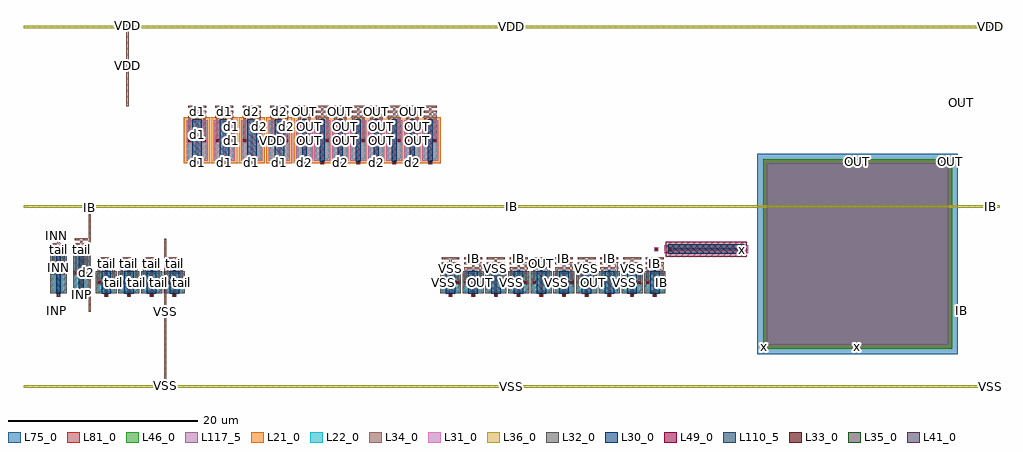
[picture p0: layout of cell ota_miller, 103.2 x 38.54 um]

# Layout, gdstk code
import gdstk
lib = gdstk.Library(unit=1e-6, precision=1e-09)
def R(c, l, rs):  # rectangles x0, y0, x1, y1
    for r in rs: c.add(gdstk.rectangle(r[:2], r[2:], *l))
def A(c, l, x, y, w, h, nx, ny, dx, dy):  # array of equal rectangles
    R(c, l, [(x+i*dx, y+j*dy, x+i*dx+w, y+j*dy+h) for i in range(nx) for j in range(ny)])
L21_0 = (21, 0)
L22_0 = (22, 0)
L30_0 = (30, 0)
L31_0 = (31, 0)
L32_0 = (32, 0)
L33_0 = (33, 0)
L34_0 = (34, 0)
L35_0 = (35, 0)
L36_0 = (36, 0)
L41_0 = (41, 0)
L46_0 = (46, 0)
L49_0 = (49, 0)
L75_0 = (75, 0)
L81_0 = (81, 0)
L110_5 = (110, 5)
L117_5 = (117, 5)

ota_miller = lib.new_cell('ota_miller')
A(ota_miller, L21_0, 13.97, 19.57, 2.76, 4.86, 4, 1, 2.9, 0)
A(ota_miller, L21_0, 25.57, 19.57, 2.26, 4.86, 8, 1, 1.9, 0)
A(ota_miller, L22_0, 4.8, 6, 1.9, 2, 4, 1, 2.4, 0)
A(ota_miller, L22_0, 41.2, 6, 1.9, 2, 10, 1, 2.4, 0)
A(ota_miller, L22_0, 14.4, 20, 1.9, 4, 4, 1, 2.9, 0)
A(ota_miller, L22_0, 26, 20, 1.4, 4, 8, 1, 1.9, 0)
R(ota_miller, L22_0, [(0,6,1.4,10), (2.4,6,3.8,10), (63.7,10.28,64.14,10.72)])
A(ota_miller, L30_0, 5.25, 5.78, 1, 2.44, 4, 1, 2.4, 0)
A(ota_miller, L30_0, 41.65, 5.78, 1, 2.44, 10, 1, 2.4, 0)
A(ota_miller, L30_0, 14.85, 19.78, 1, 4.44, 4, 1, 2.9, 0)
A(ota_miller, L30_0, 26.45, 19.78, 0.5, 4.44, 8, 1, 1.9, 0)
R(ota_miller, L30_0, [(0.45,5.78,0.95,10.22), (2.85,5.78,3.35,10.22), (65.2,10,73.2,11)])
A(ota_miller, L31_0, 14.24, 19.84, 2.22, 4.32, 4, 1, 2.9, 0)
A(ota_miller, L31_0, 25.84, 19.84, 1.72, 4.32, 8, 1, 1.9, 0)
R(ota_miller, L31_0, [(64.76,10.1,65.2,10.9), (73.2,10.1,73.64,10.9), (63.7,10.28,64.14,10.72)])
A(ota_miller, L32_0, 4.64, 5.84, 2.22, 2.32, 4, 1, 2.4, 0)
A(ota_miller, L32_0, 41.04, 5.84, 2.22, 2.32, 10, 1, 2.4, 0)
R(ota_miller, L32_0, [(-0.16,5.84,1.56,10.16), (2.24,5.84,3.96,10.16)])
A(ota_miller, L33_0, 5.64, 5.55, 0.22, 0.22, 4, 1, 2.4, 0)
A(ota_miller, L33_0, 42.04, 5.55, 0.22, 0.22, 10, 1, 2.4, 0)
A(ota_miller, L33_0, 15.24, 19.55, 0.22, 0.22, 4, 1, 2.9, 0)
A(ota_miller, L33_0, 26.59, 19.55, 0.22, 0.22, 8, 1, 1.9, 0)
R(ota_miller, L33_0, [(0.59,5.55,0.81,5.77), (2.99,5.55,3.21,5.77), (4.88,6.89,5.1,7.11), (6.4,6.89,6.62,7.11), (7.28,6.89,7.5,7.11), (8.8,6.89,9.02,7.11), (9.68,6.89,9.9,7.11), (11.2,6.89,11.42,7.11), (12.08,6.89,12.3,7.11), (13.6,6.89,13.82,7.11), (41.28,6.89,41.5,7.11), (42.8,6.89,43.02,7.11), (43.68,6.89,43.9,7.11), (45.2,6.89,45.42,7.11), (46.08,6.89,46.3,7.11), (47.6,6.89,47.82,7.11), (48.48,6.89,48.7,7.11), (50,6.89,50.22,7.11), (50.88,6.89,51.1,7.11), (52.4,6.89,52.62,7.11), (53.28,6.89,53.5,7.11), (54.8,6.89,55.02,7.11), (55.68,6.89,55.9,7.11), (57.2,6.89,57.42,7.11), (58.08,6.89,58.3,7.11), (59.6,6.89,59.82,7.11), (60.48,6.89,60.7,7.11), (62,6.89,62.22,7.11), (62.88,6.89,63.1,7.11), (64.4,6.89,64.62,7.11), (0.08,7.89,0.3,8.11), (1.1,7.89,1.32,8.11), (2.48,7.89,2.7,8.11), (3.5,7.89,3.72,8.11), (63.81,10.39,64.03,10.61), (65.27,10.39,65.49,10.61), (72.91,10.39,73.13,10.61), (14.48,21.89,14.7,22.11), (16,21.89,16.22,22.11), (17.38,21.89,17.6,22.11), (18.9,21.89,19.12,22.11), (20.28,21.89,20.5,22.11), (21.8,21.89,22.02,22.11), (23.18,21.89,23.4,22.11), (24.7,21.89,24.92,22.11), (26.08,21.89,26.3,22.11), (27.1,21.89,27.32,22.11), (27.98,21.89,28.2,22.11), (29,21.89,29.22,22.11), (29.88,21.89,30.1,22.11), (30.9,21.89,31.12,22.11), (31.78,21.89,32,22.11), (32.8,21.89,33.02,22.11), (33.68,21.89,33.9,22.11), (34.7,21.89,34.92,22.11), (35.58,21.89,35.8,22.11), (36.6,21.89,36.82,22.11), (37.48,21.89,37.7,22.11), (38.5,21.89,38.72,22.11), (39.38,21.89,39.6,22.11), (40.4,21.89,40.62,22.11)])
A(ota_miller, L34_0, 99, -4.2, 0.4, 0.4, 1, 3, 0, 19)
A(ota_miller, L34_0, 5.55, 5.46, 0.4, 0.4, 4, 1, 2.4, 0)
A(ota_miller, L34_0, 41.95, 5.46, 0.4, 0.4, 10, 1, 2.4, 0)
A(ota_miller, L34_0, 5.635, 5.66, 0.23, 3.895, 4, 1, 2.4, 0)
A(ota_miller, L34_0, 42.035, 5.66, 0.23, 3.895, 10, 1, 2.4, 0)
A(ota_miller, L34_0, 4.875, 7, 0.23, 1.495, 4, 1, 2.4, 0)
A(ota_miller, L34_0, 6.395, 7, 0.23, 2.025, 4, 1, 2.4, 0)
A(ota_miller, L34_0, 41.275, 7, 0.23, 1.495, 10, 1, 2.4, 0)
A(ota_miller, L34_0, 42.795, 7, 0.23, 2.025, 10, 1, 2.4, 0)
A(ota_miller, L34_0, 4.8, 8.38, 1.9, 0.23, 4, 3, 2.4, 0.53)
A(ota_miller, L34_0, 41.2, 8.38, 1.9, 0.23, 10, 3, 2.4, 0.53)
A(ota_miller, L34_0, 0, 10.38, 1.4, 0.23, 1, 3, 0, 0.53)
A(ota_miller, L34_0, 2.4, 10.38, 1.4, 0.23, 1, 3, 0, 0.53)
A(ota_miller, L34_0, 15.15, 19.46, 0.4, 0.4, 4, 1, 2.9, 0)
A(ota_miller, L34_0, 26.5, 19.46, 0.4, 0.4, 8, 1, 1.9, 0)
A(ota_miller, L34_0, 15.235, 19.66, 0.23, 5.895, 4, 1, 2.9, 0)
A(ota_miller, L34_0, 26.585, 19.66, 0.23, 5.895, 8, 1, 1.9, 0)
A(ota_miller, L34_0, 14.475, 22, 0.23, 2.495, 5, 1, 2.9, 0)
A(ota_miller, L34_0, 15.995, 22, 0.23, 3.025, 4, 1, 2.9, 0)
A(ota_miller, L34_0, 27.095, 22, 0.23, 3.025, 8, 1, 1.9, 0)
A(ota_miller, L34_0, 27.975, 22, 0.23, 2.495, 7, 1, 1.9, 0)
A(ota_miller, L34_0, 14.4, 24.38, 1.9, 0.23, 4, 3, 2.9, 0.53)
A(ota_miller, L34_0, 26, 24.38, 1.4, 0.23, 8, 3, 1.9, 0.53)
R(ota_miller, L34_0, [(99.085,-4.115,99.315,-3.885), (11.8,-4.06,12.2,-3.66), (11.885,-3.86,12.115,11.62), (3.885,3.88,4.115,14.86), (0.385,3.885,0.615,4.115), (96.085,3.885,96.315,4.115), (0.5,5.46,0.9,5.86), (2.9,5.46,3.3,5.86), (0.585,5.66,0.815,11.555), (2.985,5.66,3.215,11.555), (4.79,6.8,5.19,7.2), (6.31,6.8,6.71,7.2), (7.19,6.8,7.59,7.2), (8.71,6.8,9.11,7.2), (9.59,6.8,9.99,7.2), (11.11,6.8,11.51,7.2), (11.99,6.8,12.39,7.2), (13.51,6.8,13.91,7.2), (41.19,6.8,41.59,7.2), (42.71,6.8,43.11,7.2), (43.59,6.8,43.99,7.2), (45.11,6.8,45.51,7.2), (45.99,6.8,46.39,7.2), (47.51,6.8,47.91,7.2), (48.39,6.8,48.79,7.2), (49.91,6.8,50.31,7.2), (50.79,6.8,51.19,7.2), (52.31,6.8,52.71,7.2), (53.19,6.8,53.59,7.2), (54.71,6.8,55.11,7.2), (55.59,6.8,55.99,7.2), (57.11,6.8,57.51,7.2), (57.99,6.8,58.39,7.2), (59.51,6.8,59.91,7.2), (60.39,6.8,60.79,7.2), (61.91,6.8,62.31,7.2), (62.79,6.8,63.19,7.2), (64.31,6.8,64.71,7.2), (-0.01,7.8,0.39,8.2), (1.01,7.8,1.41,8.2), (2.39,7.8,2.79,8.2), (3.41,7.8,3.81,8.2), (0.075,8,0.305,10.495), (1.095,8,1.325,11.025), (2.475,8,2.705,10.495), (3.495,8,3.725,11.025), (63.72,10.3,64.12,10.7), (65.18,10.3,65.58,10.7), (72.82,10.3,73.22,10.7), (63.7,10.385,64.14,10.615), (65.38,10.385,73.02,10.615), (0.385,11.885,0.615,12.115), (3.8,14.66,4.2,15.06), (14.39,21.8,14.79,22.2), (15.91,21.8,16.31,22.2), (17.29,21.8,17.69,22.2), (18.81,21.8,19.21,22.2), (20.19,21.8,20.59,22.2), (21.71,21.8,22.11,22.2), (23.09,21.8,23.49,22.2), (24.61,21.8,25.01,22.2), (25.99,21.8,26.39,22.2), (27.01,21.8,27.41,22.2), (27.89,21.8,28.29,22.2), (28.91,21.8,29.31,22.2), (29.79,21.8,30.19,22.2), (30.81,21.8,31.21,22.2), (31.69,21.8,32.09,22.2), (32.71,21.8,33.11,22.2), (33.59,21.8,33.99,22.2), (34.61,21.8,35.01,22.2), (35.49,21.8,35.89,22.2), (36.51,21.8,36.91,22.2), (37.39,21.8,37.79,22.2), (38.41,21.8,38.81,22.2), (39.29,21.8,39.69,22.2), (40.31,21.8,40.71,22.2), (7.885,25.62,8.115,34.14), (96.085,25.885,96.315,26.115), (99.085,33.885,99.315,34.115), (7.8,33.94,8.2,34.34)])
A(ota_miller, L35_0, 99.07, -4.13, 0.26, 0.26, 1, 3, 0, 19)
R(ota_miller, L35_0, [(11.87,-3.99,12.13,-3.73), (3.87,14.73,4.13,14.99), (7.87,34.01,8.13,34.27)])
A(ota_miller, L36_0, 99, -4.2, 0.4, 0.4, 1, 3, 0, 19)
A(ota_miller, L36_0, -3, -4.14, 103.2, 0.28, 1, 3, 0, 19)
R(ota_miller, L36_0, [(11.8,-4.06,12.2,-3.66), (3.8,14.66,4.2,15.06), (7.8,33.94,8.2,34.34)])
R(ota_miller, L41_0, [(75.26,0.06,75.52,0.32), (94.88,19.68,95.14,19.94)])
R(ota_miller, L46_0, [(75.19,-0.01,75.59,0.39), (75.2,0,95.2,20), (75.39,0.05,95.01,0.33), (94.81,19.61,95.21,20.01)])
R(ota_miller, L49_0, [(64.92,9.72,73.48,11.28)])
R(ota_miller, L75_0, [(74.6,-0.6,95.8,20.6)])
R(ota_miller, L81_0, [(75.19,-0.01,75.59,0.39), (75.2,0,95.2,20), (75.39,19.59,95.01,20.03), (94.81,19.61,95.21,20.01)])
R(ota_miller, L110_5, [(65.2,10,73.2,11)])
R(ota_miller, L117_5, [(75.6,0.4,94.8,19.6)])
ota_miller.add(gdstk.Label('OUT', (96.2,26), layer=34, texttype=10))
ota_miller.add(gdstk.Label('VDD', (99.2,34), layer=34, texttype=10))
ota_miller.add(gdstk.Label('OUT', (26.7,25.025), layer=34, texttype=10))
ota_miller.add(gdstk.Label('d2', (26.7,25.555), layer=34, texttype=10))
ota_miller.add(gdstk.Label('OUT', (28.6,25.025), layer=34, texttype=10))
ota_miller.add(gdstk.Label('d2', (28.6,25.555), layer=34, texttype=10))
ota_miller.add(gdstk.Label('OUT', (30.5,25.025), layer=34, texttype=10))
ota_miller.add(gdstk.Label('d2', (30.5,25.555), layer=34, texttype=10))
ota_miller.add(gdstk.Label('OUT', (32.4,25.025), layer=34, texttype=10))
ota_miller.add(gdstk.Label('d2', (32.4,25.555), layer=34, texttype=10))
ota_miller.add(gdstk.Label('OUT', (34.3,25.025), layer=34, texttype=10))
ota_miller.add(gdstk.Label('d2', (34.3,25.555), layer=34, texttype=10))
ota_miller.add(gdstk.Label('OUT', (36.2,25.025), layer=34, texttype=10))
ota_miller.add(gdstk.Label('d2', (36.2,25.555), layer=34, texttype=10))
ota_miller.add(gdstk.Label('OUT', (38.1,25.025), layer=34, texttype=10))
ota_miller.add(gdstk.Label('d2', (38.1,25.555), layer=34, texttype=10))
ota_miller.add(gdstk.Label('OUT', (40,25.025), layer=34, texttype=10))
ota_miller.add(gdstk.Label('d2', (40,25.555), layer=34, texttype=10))
ota_miller.add(gdstk.Label('d1', (15.35,25.025), layer=34, texttype=10))
ota_miller.add(gdstk.Label('d1', (15.35,25.555), layer=34, texttype=10))
ota_miller.add(gdstk.Label('d1', (18.25,25.025), layer=34, texttype=10))
ota_miller.add(gdstk.Label('d1', (18.25,25.555), layer=34, texttype=10))
ota_miller.add(gdstk.Label('d2', (21.15,25.025), layer=34, texttype=10))
ota_miller.add(gdstk.Label('d1', (21.15,25.555), layer=34, texttype=10))
ota_miller.add(gdstk.Label('d2', (24.05,25.025), layer=34, texttype=10))
ota_miller.add(gdstk.Label('d1', (24.05,25.555), layer=34, texttype=10))
ota_miller.add(gdstk.Label('VDD', (8,29.88), layer=34, texttype=10))
ota_miller.add(gdstk.Label('VDD', (23.29,22), layer=34, texttype=10))
ota_miller.add(gdstk.Label('d2', (24.81,22), layer=34, texttype=10))
ota_miller.add(gdstk.Label('d1', (24.05,19.66), layer=34, texttype=10))
ota_miller.add(gdstk.Label('VDD', (24.05,24.495), layer=34, texttype=10))
ota_miller.add(gdstk.Label('VDD', (23.29,23.248), layer=34, texttype=10))
ota_miller.add(gdstk.Label('d1', (15.35,22.608), layer=34, texttype=10))
ota_miller.add(gdstk.Label('d2', (24.81,23.513), layer=34, texttype=10))
ota_miller.add(gdstk.Label('VDD', (17.49,22), layer=34, texttype=10))
ota_miller.add(gdstk.Label('d1', (24.05,22.608), layer=34, texttype=10))
ota_miller.add(gdstk.Label('d1', (19.01,22), layer=34, texttype=10))
ota_miller.add(gdstk.Label('d1', (18.25,19.66), layer=34, texttype=10))
ota_miller.add(gdstk.Label('VDD', (18.25,24.495), layer=34, texttype=10))
ota_miller.add(gdstk.Label('VDD', (17.49,23.248), layer=34, texttype=10))
ota_miller.add(gdstk.Label('VDD', (14.59,23.248), layer=34, texttype=10))
ota_miller.add(gdstk.Label('d1', (19.01,23.513), layer=34, texttype=10))
ota_miller.add(gdstk.Label('d1', (15.35,19.66), layer=34, texttype=10))
ota_miller.add(gdstk.Label('d1', (18.25,22.608), layer=34, texttype=10))
ota_miller.add(gdstk.Label('VDD', (20.39,22), layer=34, texttype=10))
ota_miller.add(gdstk.Label('d2', (21.91,22), layer=34, texttype=10))
ota_miller.add(gdstk.Label('d1', (21.15,19.66), layer=34, texttype=10))
ota_miller.add(gdstk.Label('VDD', (21.15,24.495), layer=34, texttype=10))
ota_miller.add(gdstk.Label('VDD', (20.39,23.248), layer=34, texttype=10))
ota_miller.add(gdstk.Label('d1', (16.11,23.513), layer=34, texttype=10))
ota_miller.add(gdstk.Label('d2', (21.91,23.513), layer=34, texttype=10))
ota_miller.add(gdstk.Label('VDD', (15.35,24.495), layer=34, texttype=10))
ota_miller.add(gdstk.Label('d1', (21.15,22.608), layer=34, texttype=10))
ota_miller.add(gdstk.Label('VDD', (14.59,22), layer=34, texttype=10))
ota_miller.add(gdstk.Label('d1', (16.11,22), layer=34, texttype=10))
ota_miller.add(gdstk.Label('OUT', (31.01,22), layer=34, texttype=10))
ota_miller.add(gdstk.Label('d2', (30.5,19.66), layer=34, texttype=10))
ota_miller.add(gdstk.Label('VDD', (30.5,24.495), layer=34, texttype=10))
ota_miller.add(gdstk.Label('VDD', (29.99,23.248), layer=34, texttype=10))
ota_miller.add(gdstk.Label('VDD', (26.19,23.248), layer=34, texttype=10))
ota_miller.add(gdstk.Label('OUT', (31.01,23.513), layer=34, texttype=10))
ota_miller.add(gdstk.Label('VDD', (26.19,22), layer=34, texttype=10))
ota_miller.add(gdstk.Label('d2', (30.5,22.608), layer=34, texttype=10))
ota_miller.add(gdstk.Label('VDD', (31.89,22), layer=34, texttype=10))
ota_miller.add(gdstk.Label('OUT', (32.91,22), layer=34, texttype=10))
ota_miller.add(gdstk.Label('d2', (32.4,19.66), layer=34, texttype=10))
ota_miller.add(gdstk.Label('VDD', (32.4,24.495), layer=34, texttype=10))
ota_miller.add(gdstk.Label('VDD', (31.89,23.248), layer=34, texttype=10))
ota_miller.add(gdstk.Label('OUT', (27.21,23.513), layer=34, texttype=10))
ota_miller.add(gdstk.Label('OUT', (32.91,23.513), layer=34, texttype=10))
ota_miller.add(gdstk.Label('OUT', (27.21,22), layer=34, texttype=10))
ota_miller.add(gdstk.Label('d2', (32.4,22.608), layer=34, texttype=10))
ota_miller.add(gdstk.Label('VDD', (33.79,22), layer=34, texttype=10))
ota_miller.add(gdstk.Label('OUT', (34.81,22), layer=34, texttype=10))
ota_miller.add(gdstk.Label('d2', (34.3,19.66), layer=34, texttype=10))
ota_miller.add(gdstk.Label('VDD', (34.3,24.495), layer=34, texttype=10))
ota_miller.add(gdstk.Label('VDD', (33.79,23.248), layer=34, texttype=10))
ota_miller.add(gdstk.Label('d2', (26.7,22.608), layer=34, texttype=10))
ota_miller.add(gdstk.Label('OUT', (34.81,23.513), layer=34, texttype=10))
ota_miller.add(gdstk.Label('VDD', (28.09,22), layer=34, texttype=10))
ota_miller.add(gdstk.Label('d2', (34.3,22.608), layer=34, texttype=10))
ota_miller.add(gdstk.Label('VDD', (35.69,22), layer=34, texttype=10))
ota_miller.add(gdstk.Label('OUT', (36.71,22), layer=34, texttype=10))
ota_miller.add(gdstk.Label('d2', (36.2,19.66), layer=34, texttype=10))
ota_miller.add(gdstk.Label('VDD', (36.2,24.495), layer=34, texttype=10))
ota_miller.add(gdstk.Label('VDD', (35.69,23.248), layer=34, texttype=10))
ota_miller.add(gdstk.Label('OUT', (29.11,22), layer=34, texttype=10))
ota_miller.add(gdstk.Label('OUT', (36.71,23.513), layer=34, texttype=10))
ota_miller.add(gdstk.Label('d2', (28.6,19.66), layer=34, texttype=10))
ota_miller.add(gdstk.Label('d2', (36.2,22.608), layer=34, texttype=10))
ota_miller.add(gdstk.Label('VDD', (37.59,22), layer=34, texttype=10))
ota_miller.add(gdstk.Label('OUT', (38.61,22), layer=34, texttype=10))
ota_miller.add(gdstk.Label('d2', (38.1,19.66), layer=34, texttype=10))
ota_miller.add(gdstk.Label('VDD', (38.1,24.495), layer=34, texttype=10))
ota_miller.add(gdstk.Label('VDD', (37.59,23.248), layer=34, texttype=10))
ota_miller.add(gdstk.Label('VDD', (28.6,24.495), layer=34, texttype=10))
ota_miller.add(gdstk.Label('OUT', (38.61,23.513), layer=34, texttype=10))
ota_miller.add(gdstk.Label('VDD', (28.09,23.248), layer=34, texttype=10))
ota_miller.add(gdstk.Label('d2', (38.1,22.608), layer=34, texttype=10))
ota_miller.add(gdstk.Label('VDD', (39.49,22), layer=34, texttype=10))
ota_miller.add(gdstk.Label('OUT', (40.51,22), layer=34, texttype=10))
ota_miller.add(gdstk.Label('d2', (40,19.66), layer=34, texttype=10))
ota_miller.add(gdstk.Label('VDD', (40,24.495), layer=34, texttype=10))
ota_miller.add(gdstk.Label('VDD', (39.49,23.248), layer=34, texttype=10))
ota_miller.add(gdstk.Label('d2', (26.7,19.66), layer=34, texttype=10))
ota_miller.add(gdstk.Label('OUT', (40.51,23.513), layer=34, texttype=10))
ota_miller.add(gdstk.Label('OUT', (29.11,23.513), layer=34, texttype=10))
ota_miller.add(gdstk.Label('d2', (40,22.608), layer=34, texttype=10))
ota_miller.add(gdstk.Label('VDD', (26.7,24.495), layer=34, texttype=10))
ota_miller.add(gdstk.Label('d2', (28.6,22.608), layer=34, texttype=10))
ota_miller.add(gdstk.Label('VDD', (29.99,22), layer=34, texttype=10))
ota_miller.add(gdstk.Label('tail', (0.7,10.495), layer=34, texttype=10))
ota_miller.add(gdstk.Label('tail', (0.19,9.248), layer=34, texttype=10))
ota_miller.add(gdstk.Label('d1', (0.7,11.025), layer=34, texttype=10))
ota_miller.add(gdstk.Label('d1', (1.21,9.513), layer=34, texttype=10))
ota_miller.add(gdstk.Label('INN', (0.7,11.555), layer=34, texttype=10))
ota_miller.add(gdstk.Label('INN', (0.7,8.608), layer=34, texttype=10))
ota_miller.add(gdstk.Label('tail', (2.59,8), layer=34, texttype=10))
ota_miller.add(gdstk.Label('d2', (3.61,8), layer=34, texttype=10))
ota_miller.add(gdstk.Label('INP', (3.1,5.66), layer=34, texttype=10))
ota_miller.add(gdstk.Label('tail', (3.1,10.495), layer=34, texttype=10))
ota_miller.add(gdstk.Label('tail', (2.59,9.248), layer=34, texttype=10))
ota_miller.add(gdstk.Label('d2', (3.1,11.025), layer=34, texttype=10))
ota_miller.add(gdstk.Label('d2', (3.61,9.513), layer=34, texttype=10))
ota_miller.add(gdstk.Label('INP', (3.1,11.555), layer=34, texttype=10))
ota_miller.add(gdstk.Label('INP', (3.1,8.608), layer=34, texttype=10))
ota_miller.add(gdstk.Label('VSS', (4.99,7), layer=34, texttype=10))
ota_miller.add(gdstk.Label('tail', (6.51,7), layer=34, texttype=10))
ota_miller.add(gdstk.Label('IB', (5.75,5.66), layer=34, texttype=10))
ota_miller.add(gdstk.Label('VSS', (5.75,8.495), layer=34, texttype=10))
ota_miller.add(gdstk.Label('VSS', (4.99,7.748), layer=34, texttype=10))
ota_miller.add(gdstk.Label('tail', (5.75,9.025), layer=34, texttype=10))
ota_miller.add(gdstk.Label('tail', (6.51,8.013), layer=34, texttype=10))
ota_miller.add(gdstk.Label('IB', (5.75,9.555), layer=34, texttype=10))
ota_miller.add(gdstk.Label('IB', (5.75,7.608), layer=34, texttype=10))
ota_miller.add(gdstk.Label('VSS', (7.39,7), layer=34, texttype=10))
ota_miller.add(gdstk.Label('tail', (8.91,7), layer=34, texttype=10))
ota_miller.add(gdstk.Label('IB', (8.15,5.66), layer=34, texttype=10))
ota_miller.add(gdstk.Label('VSS', (8.15,8.495), layer=34, texttype=10))
ota_miller.add(gdstk.Label('VSS', (7.39,7.748), layer=34, texttype=10))
ota_miller.add(gdstk.Label('tail', (8.15,9.025), layer=34, texttype=10))
ota_miller.add(gdstk.Label('tail', (8.91,8.013), layer=34, texttype=10))
ota_miller.add(gdstk.Label('IB', (8.15,9.555), layer=34, texttype=10))
ota_miller.add(gdstk.Label('IB', (8.15,7.608), layer=34, texttype=10))
ota_miller.add(gdstk.Label('VSS', (9.79,7), layer=34, texttype=10))
ota_miller.add(gdstk.Label('tail', (11.31,7), layer=34, texttype=10))
ota_miller.add(gdstk.Label('IB', (10.55,5.66), layer=34, texttype=10))
ota_miller.add(gdstk.Label('VSS', (10.55,8.495), layer=34, texttype=10))
ota_miller.add(gdstk.Label('VSS', (9.79,7.748), layer=34, texttype=10))
ota_miller.add(gdstk.Label('tail', (10.55,9.025), layer=34, texttype=10))
ota_miller.add(gdstk.Label('tail', (11.31,8.013), layer=34, texttype=10))
ota_miller.add(gdstk.Label('IB', (10.55,9.555), layer=34, texttype=10))
ota_miller.add(gdstk.Label('IB', (10.55,7.608), layer=34, texttype=10))
ota_miller.add(gdstk.Label('VSS', (12.19,7), layer=34, texttype=10))
ota_miller.add(gdstk.Label('tail', (13.71,7), layer=34, texttype=10))
ota_miller.add(gdstk.Label('IB', (12.95,5.66), layer=34, texttype=10))
ota_miller.add(gdstk.Label('VSS', (12.95,8.495), layer=34, texttype=10))
ota_miller.add(gdstk.Label('VSS', (12.19,7.748), layer=34, texttype=10))
ota_miller.add(gdstk.Label('tail', (12.95,9.025), layer=34, texttype=10))
ota_miller.add(gdstk.Label('tail', (13.71,8.013), layer=34, texttype=10))
ota_miller.add(gdstk.Label('IB', (12.95,9.555), layer=34, texttype=10))
ota_miller.add(gdstk.Label('IB', (12.95,7.608), layer=34, texttype=10))
ota_miller.add(gdstk.Label('VSS', (41.39,7), layer=34, texttype=10))
ota_miller.add(gdstk.Label('OUT', (42.91,7), layer=34, texttype=10))
ota_miller.add(gdstk.Label('IB', (42.15,5.66), layer=34, texttype=10))
ota_miller.add(gdstk.Label('VSS', (42.15,8.495), layer=34, texttype=10))
ota_miller.add(gdstk.Label('VSS', (41.39,7.748), layer=34, texttype=10))
ota_miller.add(gdstk.Label('OUT', (42.15,9.025), layer=34, texttype=10))
ota_miller.add(gdstk.Label('OUT', (42.91,8.013), layer=34, texttype=10))
ota_miller.add(gdstk.Label('IB', (42.15,9.555), layer=34, texttype=10))
ota_miller.add(gdstk.Label('IB', (42.15,7.608), layer=34, texttype=10))
ota_miller.add(gdstk.Label('VSS', (43.79,7), layer=34, texttype=10))
ota_miller.add(gdstk.Label('OUT', (45.31,7), layer=34, texttype=10))
ota_miller.add(gdstk.Label('IB', (44.55,5.66), layer=34, texttype=10))
ota_miller.add(gdstk.Label('VSS', (44.55,8.495), layer=34, texttype=10))
ota_miller.add(gdstk.Label('VSS', (43.79,7.748), layer=34, texttype=10))
ota_miller.add(gdstk.Label('OUT', (44.55,9.025), layer=34, texttype=10))
ota_miller.add(gdstk.Label('OUT', (45.31,8.013), layer=34, texttype=10))
ota_miller.add(gdstk.Label('IB', (44.55,9.555), layer=34, texttype=10))
ota_miller.add(gdstk.Label('IB', (44.55,7.608), layer=34, texttype=10))
ota_miller.add(gdstk.Label('VSS', (46.19,7), layer=34, texttype=10))
ota_miller.add(gdstk.Label('OUT', (47.71,7), layer=34, texttype=10))
ota_miller.add(gdstk.Label('IB', (46.95,5.66), layer=34, texttype=10))
ota_miller.add(gdstk.Label('VSS', (46.95,8.495), layer=34, texttype=10))
ota_miller.add(gdstk.Label('VSS', (46.19,7.748), layer=34, texttype=10))
ota_miller.add(gdstk.Label('OUT', (46.95,9.025), layer=34, texttype=10))
ota_miller.add(gdstk.Label('OUT', (47.71,8.013), layer=34, texttype=10))
ota_miller.add(gdstk.Label('IB', (46.95,9.555), layer=34, texttype=10))
ota_miller.add(gdstk.Label('IB', (46.95,7.608), layer=34, texttype=10))
ota_miller.add(gdstk.Label('VSS', (48.59,7), layer=34, texttype=10))
ota_miller.add(gdstk.Label('IB', (49.35,5.66), layer=34, texttype=10))
ota_miller.add(gdstk.Label('VSS', (49.35,8.495), layer=34, texttype=10))
ota_miller.add(gdstk.Label('VSS', (48.59,7.748), layer=34, texttype=10))
ota_miller.add(gdstk.Label('OUT', (49.35,9.025), layer=34, texttype=10))
ota_miller.add(gdstk.Label('IB', (49.35,9.555), layer=34, texttype=10))
ota_miller.add(gdstk.Label('IB', (49.35,7.608), layer=34, texttype=10))
ota_miller.add(gdstk.Label('IB', (4,9.37), layer=34, texttype=10))
ota_miller.add(gdstk.Label('tail', (0.19,8), layer=34, texttype=10))
ota_miller.add(gdstk.Label('VSS', (12,3.88), layer=34, texttype=10))
ota_miller.add(gdstk.Label('INP', (0.5,4), layer=34, texttype=10))
ota_miller.add(gdstk.Label('INN', (0.5,12), layer=34, texttype=10))
ota_miller.add(gdstk.Label('d1', (1.21,8), layer=34, texttype=10))
ota_miller.add(gdstk.Label('INN', (0.7,5.66), layer=34, texttype=10))
ota_miller.add(gdstk.Label('OUT', (51.75,9.025), layer=34, texttype=10))
ota_miller.add(gdstk.Label('OUT', (52.51,8.013), layer=34, texttype=10))
ota_miller.add(gdstk.Label('IB', (51.75,9.555), layer=34, texttype=10))
ota_miller.add(gdstk.Label('IB', (51.75,7.608), layer=34, texttype=10))
ota_miller.add(gdstk.Label('VSS', (53.39,7), layer=34, texttype=10))
ota_miller.add(gdstk.Label('OUT', (54.91,7), layer=34, texttype=10))
ota_miller.add(gdstk.Label('IB', (54.15,5.66), layer=34, texttype=10))
ota_miller.add(gdstk.Label('VSS', (54.15,8.495), layer=34, texttype=10))
ota_miller.add(gdstk.Label('VSS', (53.39,7.748), layer=34, texttype=10))
ota_miller.add(gdstk.Label('OUT', (54.15,9.025), layer=34, texttype=10))
ota_miller.add(gdstk.Label('OUT', (54.91,8.013), layer=34, texttype=10))
ota_miller.add(gdstk.Label('IB', (54.15,9.555), layer=34, texttype=10))
ota_miller.add(gdstk.Label('IB', (54.15,7.608), layer=34, texttype=10))
ota_miller.add(gdstk.Label('VSS', (55.79,7), layer=34, texttype=10))
ota_miller.add(gdstk.Label('OUT', (57.31,7), layer=34, texttype=10))
ota_miller.add(gdstk.Label('IB', (56.55,5.66), layer=34, texttype=10))
ota_miller.add(gdstk.Label('VSS', (56.55,8.495), layer=34, texttype=10))
ota_miller.add(gdstk.Label('VSS', (55.79,7.748), layer=34, texttype=10))
ota_miller.add(gdstk.Label('OUT', (56.55,9.025), layer=34, texttype=10))
ota_miller.add(gdstk.Label('OUT', (57.31,8.013), layer=34, texttype=10))
ota_miller.add(gdstk.Label('IB', (56.55,9.555), layer=34, texttype=10))
ota_miller.add(gdstk.Label('IB', (56.55,7.608), layer=34, texttype=10))
ota_miller.add(gdstk.Label('VSS', (58.19,7), layer=34, texttype=10))
ota_miller.add(gdstk.Label('OUT', (59.71,7), layer=34, texttype=10))
ota_miller.add(gdstk.Label('IB', (58.95,5.66), layer=34, texttype=10))
ota_miller.add(gdstk.Label('VSS', (58.95,8.495), layer=34, texttype=10))
ota_miller.add(gdstk.Label('VSS', (58.19,7.748), layer=34, texttype=10))
ota_miller.add(gdstk.Label('OUT', (58.95,9.025), layer=34, texttype=10))
ota_miller.add(gdstk.Label('OUT', (59.71,8.013), layer=34, texttype=10))
ota_miller.add(gdstk.Label('IB', (58.95,9.555), layer=34, texttype=10))
ota_miller.add(gdstk.Label('IB', (58.95,7.608), layer=34, texttype=10))
ota_miller.add(gdstk.Label('VSS', (60.59,7), layer=34, texttype=10))
ota_miller.add(gdstk.Label('IB', (62.11,7), layer=34, texttype=10))
ota_miller.add(gdstk.Label('IB', (61.35,5.66), layer=34, texttype=10))
ota_miller.add(gdstk.Label('VSS', (61.35,8.495), layer=34, texttype=10))
ota_miller.add(gdstk.Label('VSS', (60.59,7.748), layer=34, texttype=10))
ota_miller.add(gdstk.Label('IB', (61.35,9.025), layer=34, texttype=10))
ota_miller.add(gdstk.Label('IB', (62.11,8.013), layer=34, texttype=10))
ota_miller.add(gdstk.Label('IB', (61.35,9.555), layer=34, texttype=10))
ota_miller.add(gdstk.Label('IB', (61.35,7.608), layer=34, texttype=10))
ota_miller.add(gdstk.Label('VSS', (62.99,7), layer=34, texttype=10))
ota_miller.add(gdstk.Label('IB', (64.51,7), layer=34, texttype=10))
ota_miller.add(gdstk.Label('IB', (63.75,5.66), layer=34, texttype=10))
ota_miller.add(gdstk.Label('VSS', (63.75,8.495), layer=34, texttype=10))
ota_miller.add(gdstk.Label('VSS', (62.99,7.748), layer=34, texttype=10))
ota_miller.add(gdstk.Label('IB', (63.75,9.025), layer=34, texttype=10))
ota_miller.add(gdstk.Label('IB', (64.51,8.013), layer=34, texttype=10))
ota_miller.add(gdstk.Label('IB', (63.75,9.555), layer=34, texttype=10))
ota_miller.add(gdstk.Label('IB', (63.75,7.608), layer=34, texttype=10))
ota_miller.add(gdstk.Label('d2', (65.38,10.5), layer=34, texttype=10))
ota_miller.add(gdstk.Label('x', (73.02,10.5), layer=34, texttype=10))
ota_miller.add(gdstk.Label('VSS', (63.92,10.5), layer=34, texttype=10))
ota_miller.add(gdstk.Label('VSS', (63.92,10.5), layer=34, texttype=10))
ota_miller.add(gdstk.Label('OUT', (50.11,7), layer=34, texttype=10))
ota_miller.add(gdstk.Label('OUT', (50.11,8.013), layer=34, texttype=10))
ota_miller.add(gdstk.Label('VSS', (50.99,7), layer=34, texttype=10))
ota_miller.add(gdstk.Label('OUT', (52.51,7), layer=34, texttype=10))
ota_miller.add(gdstk.Label('IB', (51.75,5.66), layer=34, texttype=10))
ota_miller.add(gdstk.Label('VSS', (51.75,8.495), layer=34, texttype=10))
ota_miller.add(gdstk.Label('IB', (96.2,4), layer=34, texttype=10))
ota_miller.add(gdstk.Label('VSS', (50.99,7.748), layer=34, texttype=10))
ota_miller.add(gdstk.Label('VSS', (99.2,-4), layer=34, texttype=10))
ota_miller.add(gdstk.Label('VDD', (48.6,34), layer=36, texttype=10))
ota_miller.add(gdstk.Label('VSS', (48.6,-4), layer=36, texttype=10))
ota_miller.add(gdstk.Label('IB', (48.6,15), layer=36, texttype=10))
ota_miller.add(gdstk.Label('VDD', (99.2,34), layer=36, texttype=10))
ota_miller.add(gdstk.Label('VSS', (99.2,-4), layer=36, texttype=10))
ota_miller.add(gdstk.Label('IB', (99.2,15), layer=36, texttype=10))
ota_miller.add(gdstk.Label('IB', (4,14.86), layer=36, texttype=10))
ota_miller.add(gdstk.Label('VDD', (8,34.14), layer=36, texttype=10))
ota_miller.add(gdstk.Label('VSS', (12,-3.86), layer=36, texttype=10))
ota_miller.add(gdstk.Label('x', (85.2,0.19), layer=46, texttype=10))
ota_miller.add(gdstk.Label('x', (75.39,0.19), layer=81, texttype=10))
ota_miller.add(gdstk.Label('OUT', (95.01,19.81), layer=81, texttype=10))
ota_miller.add(gdstk.Label('OUT', (85.2,19.81), layer=81, texttype=10))
ota_miller.add(gdstk.Label('VDD', (14.9,22), layer=21, texttype=10))
ota_miller.add(gdstk.Label('VDD', (17.8,22), layer=21, texttype=10))
ota_miller.add(gdstk.Label('VDD', (20.7,22), layer=21, texttype=10))
ota_miller.add(gdstk.Label('VDD', (23.6,22), layer=21, texttype=10))
ota_miller.add(gdstk.Label('VDD', (26.25,22), layer=21, texttype=10))
ota_miller.add(gdstk.Label('VDD', (28.15,22), layer=21, texttype=10))
ota_miller.add(gdstk.Label('VDD', (30.05,22), layer=21, texttype=10))
ota_miller.add(gdstk.Label('VDD', (31.95,22), layer=21, texttype=10))
ota_miller.add(gdstk.Label('VDD', (33.85,22), layer=21, texttype=10))
ota_miller.add(gdstk.Label('VDD', (35.75,22), layer=21, texttype=10))
ota_miller.add(gdstk.Label('VDD', (37.65,22), layer=21, texttype=10))
ota_miller.add(gdstk.Label('VDD', (39.55,22), layer=21, texttype=10))

lib.write_gds('ota_miller.gds')
